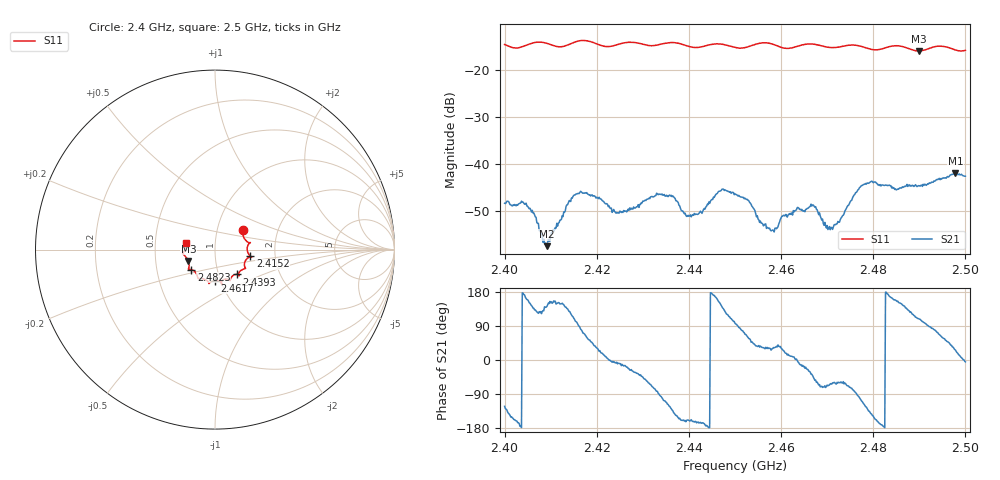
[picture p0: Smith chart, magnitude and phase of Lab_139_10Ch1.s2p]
# Hz S RI R 50
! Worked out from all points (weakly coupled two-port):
!   601 points, 2.4 GHz to 2.5 GHz, reference 50 ohm
!   highest |S21| = -42.02 dB at 2.4978 GHz (marker M1); lowest = -57.6 dB at 2.4092 GHz (marker M2)
!   lowest |S11| = -15.8 dB at 2.4898 GHz (marker M3), VSWR 1.39, Z = 36.8 - j4.79 ohm
!   |S11| at or under -10 dB: start of sweep to end of sweep
!   S12 and S22 are empty: the file has one direction only
!   S11 on the Smith chart (normalised r, x): 2.4 GHz: 1.33, +0.30; 2.4152 GHz: 1.49, -0.11; 2.4393 GHz: 1.22, -0.35; 2.4617 GHz: 0.94, -0.33; 2.4823 GHz: 0.75, -0.17; 2.5 GHz: 0.72, +0.05
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2.4e9  0.155 0.1088  -0.00203 -0.00321  0 0  0 0
2.405e9  0.184 0.0407  -0.00328 0.00127  0 0  0 0
2.409167e9  0.1918 0.036  -0.00102 0.000828  0 0  0 0
2.415167e9  0.1971 -0.0366  -0.00139 0.00444  0 0  0 0
2.416667e9  0.2048 -0.0419  0.000923 0.00492  0 0  0 0
2.424333e9  0.1644 -0.0911  0.00301 -0.000315  0 0  0 0
2.433333e9  0.1322 -0.1339  0.000159 -0.00468  0 0  0 0
2.4365e9  0.1343 -0.1466  -0.00315 -0.00327  0 0  0 0
2.439333e9  0.1228 -0.1381  -0.0027 -0.000826  0 0  0 0
2.4425e9  0.0931 -0.1514  -0.00301 -0.000825  0 0  0 0
2.447e9  0.0841 -0.1719  -0.00422 0.00302  0 0  0 0
2.45e9  0.066 -0.1638  -0.000568 0.00475  0 0  0 0
2.458e9  0.0374 -0.1886  0.0017 0.000947  0 0  0 0
2.461667e9  0.000404 -0.1723  0.00284 0.000618  0 0  0 0
2.466667e9  -0.0335 -0.1889  0.0028 -0.00216  0 0  0 0
2.470667e9  -0.0527 -0.1678  0.000903 -0.00176  0 0  0 0
2.4775e9  -0.097 -0.1521  -0.00188 -0.00557  0 0  0 0
2.482333e9  -0.1322 -0.1113  -0.00586 -0.000368  0 0  0 0
2.483333e9  -0.1411 -0.1099  -0.00582 0.000933  0 0  0 0
2.489833e9  -0.1485 -0.0634  -0.00193 0.00553  0 0  0 0
2.497833e9  -0.1656 0.000903  0.0071 0.00351  0 0  0 0
2.5e9  -0.1599 0.0362  0.00736 -0.000633  0 0  0 0
